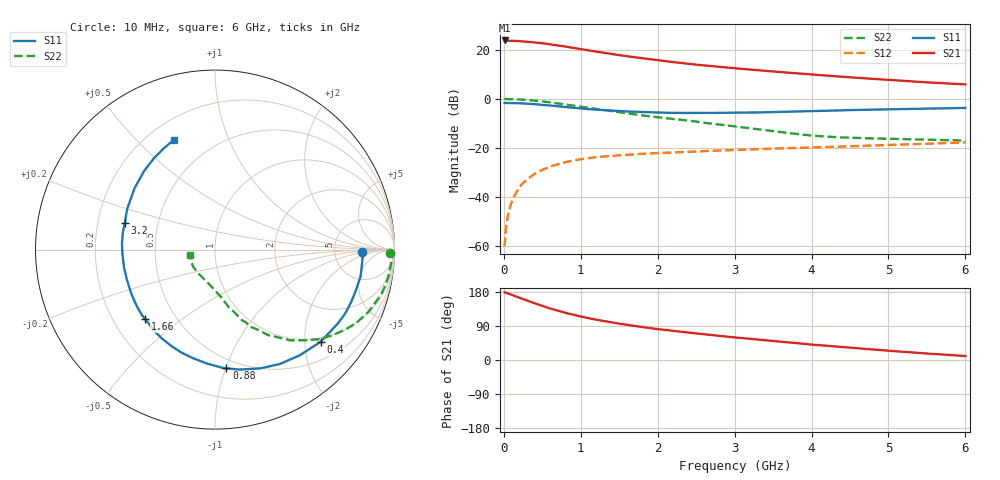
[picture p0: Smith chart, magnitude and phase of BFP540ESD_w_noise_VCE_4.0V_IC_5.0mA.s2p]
! Infineon Technologies  Discrete & RF Semiconductors
! BFP540ESD
! VCE =  4.0 V,  IC =  5.0 mA
! Common Emitter S-Parameters:  Nov 2015
# GHz  S  MA  R  50
!  f  S11  S21  S12  S22
! GHz  MAG  ANG  MAG  ANG  MAG  ANG  MAG  ANG
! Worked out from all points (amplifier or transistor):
!   210 points, 10 MHz to 6 GHz, reference 50 ohm
!   highest |S21| = 23.8 dB at 10 MHz (marker M1)
!   |S21| within 3 dB of that: start of sweep to 898.1 MHz
!   unconditionally stable (mu >= 1): start of sweep to 10.46 MHz; 3.34 GHz to end of sweep
!   at 185 MHz: K = 0.07, MSG = 30.2 dB, |S12| = -36.8 dB
!   at 1.52 GHz: K = 0.49, MSG = 20.3 dB, |S12| = -23.0 dB
!   at 6 GHz: K = 1.22, MAG = 9.0 dB, |S12| = -17.7 dB
!   lowest NFmin = 0.69 dB at 900 MHz
!   S11 on the Smith chart (normalised r, x): 10 MHz: 10, -1; 400 MHz: 0.90, -2.37; 880 MHz: 0.43, -1.01; 1.66 GHz: 0.34, -0.37; 3.2 GHz: 0.32, +0.13; 6 GHz: 0.30, +0.65
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0.01  0.8217 -0.9  15.44 178.7  0.001 44.8  0.9768 -1.2
0.03  0.8235 -3.3  15.3 177.5  0.0025 75.1  0.9925 -1.7
0.055  0.8228 -5.7  15.27 175.5  0.0044 78.1  0.9864 -3.1
0.15  0.8181 -15.8  15.16 168.4  0.0114 80.2  0.979 -8.5
0.3  0.7981 -31.2  14.6 157.0  0.0226 75.1  0.9492 -16.8
0.4  0.7813 -41.1  14.11 149.7  0.0297 70.5  0.9227 -22.1
0.5  0.7547 -51.3  13.61 142.6  0.0359 66.5  0.8879 -27.3
0.6  0.7325 -60.5  12.88 136.0  0.0418 62.2  0.8491 -31.8
0.78  0.6861 -76.5  11.73 125.7  0.0504 56.1  0.7764 -39.5
0.88  0.6642 -84.5  11.05 120.5  0.0542 52.7  0.7365 -43.1
1.02  0.6327 -95.1  10.17 113.9  0.0598 48.9  0.683 -47.8
1.18  0.6055 -106.7  9.258 107.1  0.0644 44.9  0.6268 -52.4
1.28  0.5924 -112.8  8.753 103.5  0.0665 43.3  0.5959 -54.8
1.5  0.566 -126.9  7.762 95.7  0.0707 39.4  0.5319 -60.0
1.66  0.5491 -135.3  7.154 90.9  0.0736 37.3  0.492 -63.3
2.02  0.5256 -153.0  6.059 81.1  0.0787 33.6  0.4198 -69.1
2.56  0.5157 -174.9  4.863 68.8  0.0854 29.9  0.3321 -76.3
3.1  0.5225 166.8  4.067 57.8  0.092 27.3  0.2628 -83.3
3.2  0.5246 163.8  3.945 56.0  0.0932 26.8  0.2516 -85.1
4.1  0.5674 140.4  3.048 39.2  0.1031 22.9  0.1743 -110.9
5.1  0.6158 122.2  2.378 23.0  0.1161 18.9  0.1528 -143.7
6  0.6529 110.7  1.968 10.4  0.1296 15.9  0.1417 -168.7
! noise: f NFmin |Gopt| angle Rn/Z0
0.9  0.69  0.1  42  0.12
1.8  0.92  0.1  123  0.11
2.4  0.94  0.12  135  0.1
3  1.1  0.2  165  0.09
4  1.26  0.29  -127  0.15
5  1.53  0.41  -101  0.32
6  1.74  0.53  -100  0.46
